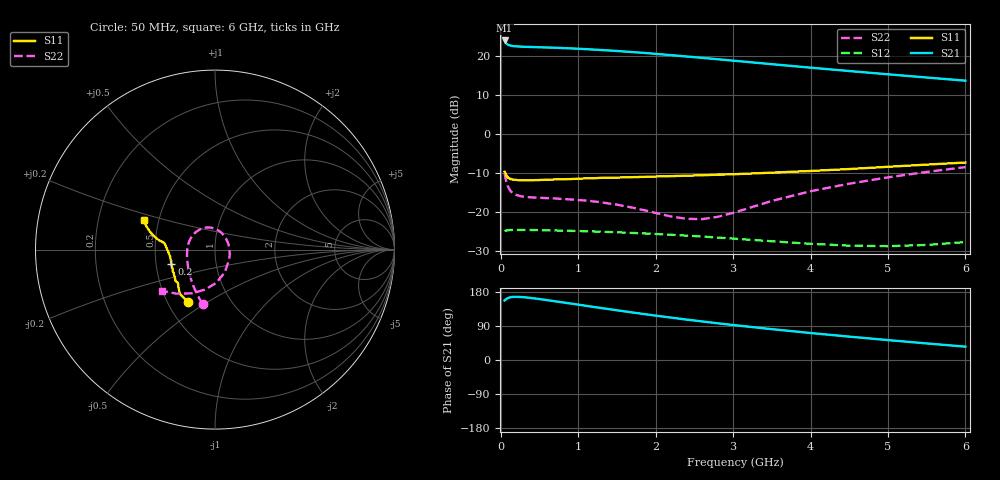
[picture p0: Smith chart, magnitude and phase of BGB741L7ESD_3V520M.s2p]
!  Infineon Technologies AG
!  BGB741L7ESD
!  Vce = 3.5V, Ic = 20.0mA
!  DATUM: 30.06.2009 10:09:40
# GHz  S  MA  R  50
!f  S11  S21  S12  S22
!GHz  Mag  Ang  Mag  Ang  Mag  Ang  Mag  Ang
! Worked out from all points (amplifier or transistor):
!   44 points, 50 MHz to 6 GHz, reference 50 ohm
!   highest |S21| = 24.0 dB at 50 MHz (marker M1)
!   |S21| within 3 dB of that: start of sweep to 1.71 GHz
!   unconditionally stable (mu >= 1): 191.8 MHz to end of sweep
!   at 120 MHz: K = 0.97, MSG = 23.7 dB, |S12| = -24.7 dB
!   at 1 GHz: K = 1.04, MAG = 22.2 dB, |S12| = -24.9 dB
!   at 6 GHz: K = 1.78, MAG = 15.6 dB, |S12| = -27.8 dB
!   S11 on the Smith chart (normalised r, x): 50 MHz: 0.63, -0.41; 200 MHz: 0.60, -0.10; 6 GHz: 0.41, +0.16
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0.05  0.3277 -117.6  15.8 157.3  0.05617 17.0  0.3115 -102.9
0.06  0.3149 -128.4  15.04 158.9  0.05699 14.0  0.2745 -110.4
0.07  0.2956 -133.3  14.56 160.8  0.05747 12.1  0.2487 -117.0
0.08  0.2775 -138.1  14.24 162.1  0.05771 10.6  0.2297 -122.6
0.1  0.2708 -146.0  13.83 164.0  0.05809 8.2  0.2043 -132.3
0.14  0.2593 -155.5  13.47 166.1  0.05842 5.6  0.1793 -146.5
0.2  0.2565 -161.5  13.27 166.7  0.05849 3.3  0.1647 -160.5
0.35  0.2527 -170.2  13.07 164.7  0.05844 0.7  0.1545 178.5
0.7  0.26 -176.7  12.74 155.0  0.05766 -2.0  0.1485 149.5
1.1  0.2686 179.0  12.23 143.0  0.05629 -3.9  0.1396 123.5
1.4  0.2739 176.7  11.75 134.2  0.05503 -4.8  0.1276 105.5
1.6  0.2768 174.9  11.38 128.3  0.05408 -5.4  0.1179 92.8
1.9  0.2815 173.4  10.83 119.8  0.05251 -6.0  0.1025 71.5
2.2  0.287 172.5  10.24 111.9  0.05073 -6.3  0.08712 46.2
2.8  0.2993 171.4  9.077 96.9  0.04677 -5.9  0.08611 -17.5
3  0.3032 171.3  8.7 92.3  0.04534 -5.4  0.09674 -35.2
3.5  0.3179 170.4  7.832 81.4  0.04187 -2.9  0.1378 -66.7
4  0.3341 168.8  7.071 71.2  0.03886 1.5  0.1836 -87.0
4.5  0.3539 167.0  6.402 61.7  0.03678 8.0  0.2294 -103.7
5  0.3781 164.4  5.812 52.5  0.03623 15.9  0.2766 -118.3
5.5  0.4032 161.3  5.285 43.8  0.03756 24.2  0.3249 -130.8
6  0.4289 157.7  4.815 35.2  0.04086 31.2  0.3744 -142.1
